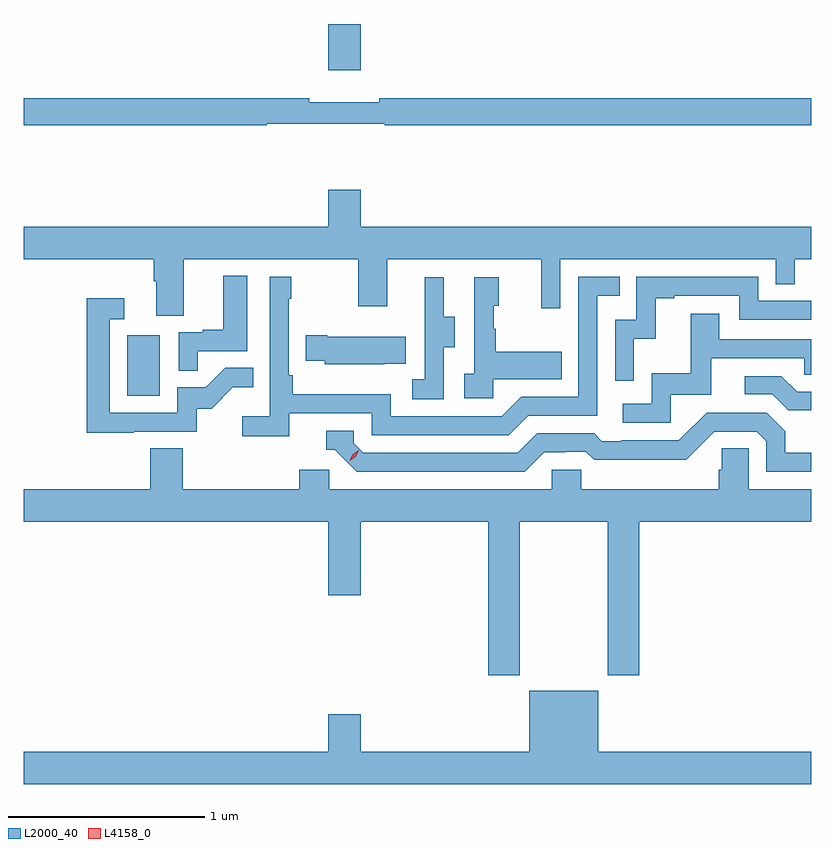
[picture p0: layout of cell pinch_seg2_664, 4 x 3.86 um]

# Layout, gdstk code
import gdstk
lib = gdstk.Library(unit=1e-6, precision=1e-09)
def R(c, l, rs):  # rectangles x0, y0, x1, y1
    for r in rs: c.add(gdstk.rectangle(r[:2], r[2:], *l))
def P(c, l, *ps):  # polygons
    for p in ps: c.add(gdstk.Polygon(p, *l))
L2000_40 = (2000, 40)
L4158_0 = (4158, 0)

pinch_seg2_664 = lib.new_cell('pinch_seg2_664')
R(pinch_seg2_664, L2000_40, [(1039.112,594.996,1039.276,595.303), (1040.132,596.646,1040.296,596.882)])
P(pinch_seg2_664, L2000_40, [(1039.82,596.376),(1040.42,596.376),(1040.42,596.368),(1042.585,596.368),(1042.585,596.504),(1040.392,596.504),(1040.392,596.485),(1040.036,596.485),(1040.036,596.504),(1038.585,596.504),(1038.585,596.368),(1039.82,596.368)],
  [(1039.399,595.688),(1040.284,595.688),(1040.284,595.449),(1040.431,595.449),(1040.431,595.688),(1041.212,595.688),(1041.212,595.44),(1041.309,595.44),(1041.309,595.688),(1042.404,595.688),(1042.404,595.561),(1042.5,595.561),(1042.5,595.688),(1042.585,595.688),(1042.585,595.852),(1040.296,595.852),(1040.296,596.041),(1040.132,596.041),(1040.132,595.852),(1038.585,595.852),(1038.585,595.688),(1039.247,595.688),(1039.247,595.576),(1039.259,595.576),(1039.259,595.402),(1039.399,595.402)],
  [(1039.469,595.221),(1039.72,595.221),(1039.72,595.603),(1039.598,595.603),(1039.598,595.33),(1039.495,595.33),(1039.495,595.317),(1039.374,595.317),(1039.374,595.123),(1039.469,595.123)],
  [(1039.934,594.906),(1040.352,594.906),(1040.352,594.795),(1041.049,594.795),(1041.148,594.894),(1041.498,594.894),(1041.498,595.503),(1041.611,595.503),(1041.611,595.599),(1041.402,595.599),(1041.402,594.99),(1041.111,594.99),(1041.012,594.891),(1040.448,594.891),(1040.448,595.003),(1039.952,595.003),(1039.952,595.099),(1039.932,595.099),(1039.932,595.487),(1039.945,595.487),(1039.945,595.6),(1039.836,595.6),(1039.836,594.892),(1039.695,594.892),(1039.695,594.79),(1039.934,594.79)],
  [(1041.684,595.283),(1041.794,595.283),(1041.794,595.491),(1041.889,595.491),(1041.889,595.503),(1042.218,595.503),(1042.218,595.38),(1042.585,595.38),(1042.585,595.476),(1042.314,595.476),(1042.314,595.599),(1041.696,595.599),(1041.696,595.38),(1041.588,595.38),(1041.588,595.071),(1041.684,595.071)],
  [(1040.718,595.24),(1040.773,595.24),(1040.773,595.395),(1040.719,595.395),(1040.719,595.597),(1040.621,595.597),(1040.621,595.383),(1040.622,595.383),(1040.622,595.079),(1040.559,595.079),(1040.559,594.976),(1040.718,594.976)],
  [(1040.97,595.079),(1041.317,595.079),(1041.317,595.219),(1040.983,595.219),(1040.983,595.334),(1040.973,595.334),(1040.973,595.452),(1040.998,595.452),(1040.998,595.597),(1040.874,595.597),(1040.874,595.106),(1040.823,595.106),(1040.823,594.981),(1040.97,594.981)],
  [(1039.145,594.813),(1039.464,594.813),(1039.464,594.93),(1039.54,594.93),(1039.647,595.037),(1039.751,595.037),(1039.751,595.136),(1039.608,595.136),(1039.51,595.038),(1039.365,595.038),(1039.365,594.909),(1039.023,594.909),(1039.023,595.383),(1039.096,595.383),(1039.096,595.489),(1038.907,595.489),(1038.907,594.808),(1039.145,594.808)],
  [(1041.87,594.999),(1042.075,594.999),(1042.075,595.185),(1042.549,595.185),(1042.549,595.101),(1042.585,595.101),(1042.585,595.281),(1042.117,595.281),(1042.117,595.411),(1041.973,595.411),(1041.973,595.108),(1041.774,595.108),(1041.774,594.954),(1041.627,594.954),(1041.627,594.858),(1041.87,594.858)],
  [(1040.417,595.157),(1040.525,595.157),(1040.525,595.294),(1040.128,595.294),(1040.128,595.302),(1040.017,595.302),(1040.017,595.172),(1040.115,595.172),(1040.115,595.154),(1040.417,595.154)],
  [(1042.585,595.014),(1042.513,595.014),(1042.432,595.095),(1042.245,595.095),(1042.245,595.002),(1042.386,595.002),(1042.466,594.922),(1042.585,594.922)],
  [(1041.229,594.708),(1041.336,594.708),(1041.336,594.711),(1041.439,594.711),(1041.481,594.669),(1041.714,594.669),(1041.714,594.671),(1041.95,594.671),(1042.092,594.813),(1042.308,594.813),(1042.356,594.765),(1042.356,594.609),(1042.585,594.609),(1042.585,594.705),(1042.453,594.705),(1042.453,594.815),(1042.359,594.909),(1042.053,594.909),(1041.912,594.768),(1041.619,594.768),(1041.619,594.765),(1041.52,594.765),(1041.481,594.804),(1041.192,594.804),(1041.093,594.705),(1040.31,594.705),(1040.262,594.753),(1040.262,594.816),(1040.123,594.816),(1040.123,594.72),(1040.166,594.72),(1040.277,594.609),(1041.13,594.609)],
  [(1041.105,594.356),(1041.55,594.356),(1041.55,593.577),(1041.71,593.577),(1041.71,594.356),(1042.585,594.356),(1042.585,594.52),(1042.266,594.52),(1042.266,594.728),(1042.129,594.728),(1042.129,594.618),(1042.115,594.618),(1042.115,594.52),(1041.417,594.52),(1041.417,594.618),(1041.267,594.618),(1041.267,594.52),(1040.136,594.52),(1040.136,594.618),(1039.985,594.618),(1039.985,594.52),(1039.394,594.52),(1039.394,594.728),(1039.228,594.728),(1039.228,594.52),(1038.585,594.52),(1038.585,594.356),(1040.132,594.356),(1040.132,593.982),(1040.296,593.982),(1040.296,594.356),(1040.945,594.356),(1040.945,593.577),(1041.105,593.577)],
  [(1042.585,593.188),(1041.502,593.188),(1041.502,593.497),(1041.152,593.497),(1041.152,593.188),(1040.296,593.188),(1040.296,593.377),(1040.132,593.377),(1040.132,593.188),(1038.585,593.188),(1038.585,593.024),(1042.585,593.024)])
P(pinch_seg2_664, L4158_0, [(1040.241,594.665),(1040.241,594.666),(1040.256,594.698),(1040.287,594.717),(1040.287,594.717),(1040.287,594.717),(1040.271,594.685),(1040.241,594.665)])

lib.write_gds('pinch_seg2_664.gds')
